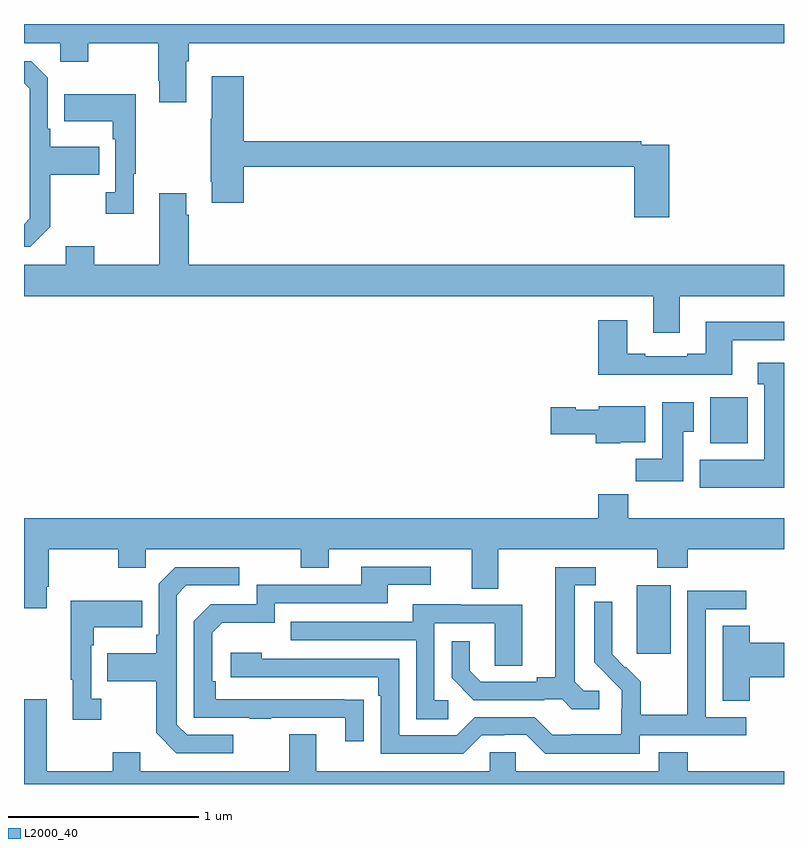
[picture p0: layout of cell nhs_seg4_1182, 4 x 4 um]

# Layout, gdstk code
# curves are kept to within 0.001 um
import gdstk
lib = gdstk.Library(unit=1e-6, precision=1e-09)
def R(c, l, rs):  # rectangles x0, y0, x1, y1
    for r in rs: c.add(gdstk.rectangle(r[:2], r[2:], *l))
def P(c, l, *ps):  # polygons
    for p in ps: c.add(gdstk.Polygon(p, *l))
L2000_40 = (2000, 40)

nhs_seg4_1182 = lib.new_cell('nhs_seg4_1182')
R(nhs_seg4_1182, L2000_40, [(174.224,813.585,174.403,813.946), (174.611,814.694,174.808,814.936)])
P(nhs_seg4_1182, L2000_40, [(171.853,816.704),(171.866,816.704),(171.866,816.8),(175,816.8),(175,816.9),(171,816.9),(171,816.8),(171.192,816.8),(171.192,816.701),(171.339,816.701),(171.339,816.8),(171.706,816.8),(171.706,816.601),(171.713,816.601),(171.713,816.489),(171.853,816.489)],
  [(171.139,815.833),(171.139,816.106),(171.395,816.106),(171.395,816.253),(171.139,816.253),(171.139,816.349),(171.126,816.349),(171.126,816.618),(171.039,816.705),(171,816.705),(171,816.588),(171.03,816.558),(171.03,815.877),(171,815.847),(171,815.727),(171.033,815.727)],
  [(174.395,816.264),(174.248,816.264),(174.248,816.284),(172.157,816.284),(172.157,816.625),(171.989,816.625),(171.989,816.401),(171.982,816.401),(171.982,816.07),(171.989,816.07),(171.989,815.958),(172.157,815.958),(172.157,816.148),(174.212,816.148),(174.212,815.883),(174.395,815.883)],
  [(171.577,816.113),(171.589,816.113),(171.589,816.529),(171.211,816.529),(171.211,816.389),(171.468,816.389),(171.468,816.293),(171.48,816.293),(171.48,816.014),(171.429,816.014),(171.429,815.901),(171.577,815.901)],
  [(174.451,815.468),(175,815.468),(175,815.632),(171.866,815.632),(171.866,815.897),(171.853,815.897),(171.853,816.01),(171.713,816.01),(171.713,815.632),(171.369,815.632),(171.369,815.731),(171.221,815.731),(171.221,815.632),(171,815.632),(171,815.468),(174.311,815.468),(174.311,815.274),(174.451,815.274)],
  [(174.727,815.235),(175,815.235),(175,815.332),(174.587,815.332),(174.587,815.164),(174.491,815.164),(174.491,815.151),(174.271,815.151),(174.271,815.164),(174.175,815.164),(174.175,815.341),(174.023,815.341),(174.023,815.054),(174.727,815.054)],
  [(175,815.116),(174.863,815.116),(174.863,815.003),(174.896,815.003),(174.896,814.606),(174.557,814.606),(174.557,814.46),(175,814.46)],
  [(174.469,814.753),(174.526,814.753),(174.526,814.909),(174.359,814.909),(174.359,814.612),(174.22,814.612),(174.22,814.494),(174.469,814.494)],
  [(174.138,814.7),(174.271,814.7),(174.271,814.888),(174.024,814.888),(174.024,814.87),(173.904,814.87),(173.904,814.883),(173.772,814.883),(173.772,814.741),(174.008,814.741),(174.008,814.694),(174.138,814.694)],
  [(171.121,813.937),(171.129,813.937),(171.129,814.136),(171.496,814.136),(171.496,814.037),(171.642,814.037),(171.642,814.136),(172.456,814.136),(172.456,814.037),(172.603,814.037),(172.603,814.136),(173.357,814.136),(173.357,813.928),(173.497,813.928),(173.497,814.136),(174.334,814.136),(174.334,814.037),(174.494,814.037),(174.494,814.136),(175,814.136),(175,814.3),(174.179,814.3),(174.179,814.424),(174.023,814.424),(174.023,814.3),(171,814.3),(171,813.825),(171.121,813.825)],
  [(172.787,813.344),(172.01,813.345),(172.01,813.442),(171.99,813.442),(171.99,813.696),(172.043,813.749),(172.32,813.749),(172.32,813.852),(172.915,813.852),(172.915,813.948),(173.14,813.948),(173.14,814.044),(172.775,814.044),(172.775,813.948),(172.224,813.948),(172.224,813.846),(171.984,813.846),(171.894,813.756),(171.894,813.249),(172.189,813.249),(172.189,813.244),(172.301,813.244),(172.301,813.249),(172.691,813.249),(172.691,813.126),(172.787,813.126)],
  [(174.028,813.39),(173.946,813.39),(173.899,813.437),(173.899,813.945),(174.01,813.945),(174.01,814.041),(173.795,814.041),(173.795,813.461),(173.699,813.461),(173.699,813.438),(173.404,813.438),(173.347,813.495),(173.347,813.652),(173.25,813.652),(173.25,813.458),(173.366,813.342),(173.738,813.342),(173.738,813.345),(173.832,813.345),(173.884,813.293),(174.028,813.293)],
  [(172.102,813.159),(171.858,813.159),(171.804,813.213),(171.804,813.894),(171.855,813.945),(172.132,813.945),(172.132,814.041),(171.795,814.041),(171.708,813.954),(171.708,813.685),(171.696,813.685),(171.696,813.589),(171.439,813.589),(171.439,813.442),(171.696,813.442),(171.696,813.169),(171.801,813.063),(172.102,813.063)],
  [(174.24,813.156),(174.802,813.156),(174.802,813.252),(174.588,813.252),(174.588,813.819),(174.802,813.819),(174.802,813.918),(174.492,813.918),(174.492,813.488),(174.49,813.488),(174.49,813.265),(174.245,813.265),(174.245,813.439),(174.168,813.516),(174.165,813.513),(174.095,813.584),(174.096,813.86),(174,813.86),(174,813.542),(174.146,813.394),(174.146,813.297),(174.144,813.297),(174.144,813.163),(173.881,813.163),(173.881,813.159),(173.781,813.159),(173.688,813.252),(173.373,813.252),(173.277,813.156),(172.974,813.156),(172.974,813.558),(172.25,813.558),(172.25,813.592),(172.089,813.592),(172.089,813.462),(172.865,813.462),(172.865,813.365),(172.878,813.365),(172.878,813.06),(173.313,813.06),(173.409,813.156),(173.528,813.156),(173.528,813.159),(173.643,813.159),(173.743,813.059),(174.24,813.059)],
  [(171.406,813.35),(171.354,813.35),(171.354,813.629),(171.367,813.629),(171.367,813.725),(171.623,813.725),(171.623,813.865),(171.246,813.865),(171.246,813.449),(171.257,813.449),(171.257,813.237),(171.406,813.237)],
  [(173.233,813.342),(173.16,813.342),(173.16,813.747),(173.478,813.747),(173.478,813.523),(173.623,813.523),(173.623,813.843),(173.299,813.843),(173.299,813.847),(173.045,813.847),(173.045,813.753),(172.405,813.753),(172.405,813.657),(173.064,813.657),(173.064,813.241),(173.233,813.241)],
  [(174.821,813.461),(175,813.461),(175,813.644),(174.821,813.644),(174.821,813.734),(174.677,813.734),(174.677,813.337),(174.821,813.337)],
  [(175,812.968),(174.494,812.968),(174.494,813.067),(174.341,813.067),(174.341,812.968),(173.589,812.968),(173.589,813.066),(173.451,813.066),(173.451,812.968),(172.537,812.968),(172.537,813.163),(172.397,813.163),(172.397,812.968),(171.613,812.968),(171.613,813.067),(171.466,813.067),(171.466,812.968),(171.121,812.968),(171.121,813.346),(171,813.346),(171,812.9),(175,812.9)])

lib.write_gds('nhs_seg4_1182.gds')
